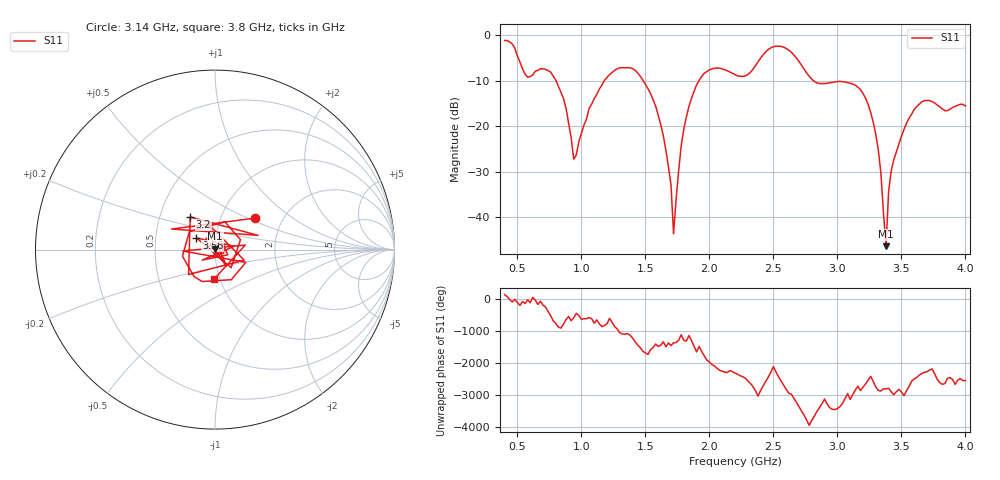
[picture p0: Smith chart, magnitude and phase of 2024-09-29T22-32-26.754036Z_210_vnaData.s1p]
!Created with skrf (http://scikit-rf.org).
# Hz S RI R 50.0
!freq ReS11 ImS11
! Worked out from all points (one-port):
!   181 points, 400 MHz to 4 GHz, reference 50 ohm
!   lowest |S11| = -46.3 dB at 3.38 GHz (marker M1), VSWR 1.01, Z = 50.2 + j0.459 ohm
!   |S11| at or under -10 dB: 801.3 MHz to 1.179 GHz (378 MHz wide, 38.2 % of centre); 1.482 GHz to 1.919 GHz (436.2 MHz wide, 25.6 % of centre); 2.813 GHz to end of sweep
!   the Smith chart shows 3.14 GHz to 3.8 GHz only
!   S11 on the Smith chart (normalised r, x): 3.14 GHz: 1.44, +0.55; 3.2 GHz: 0.71, +0.27; 3.56 GHz: 0.81, +0.11; 3.8 GHz: 0.94, -0.32
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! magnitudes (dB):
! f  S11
! 400 MHz  -1.2
! 580 MHz  -9.3
! 740 MHz  -7.8
! 860 MHz  -14.0
! 940 MHz  -27.2
! 1.06 GHz  -16.1
! 1.3 GHz  -7.2
! 1.44 GHz  -8.3
! 1.58 GHz  -15.6
! 1.7 GHz  -32.9
! 1.72 GHz  -43.6
! 1.76 GHz  -29.7
! 1.82 GHz  -18.0
! 1.92 GHz  -9.9
! 2.2 GHz  -8.7
! 2.5 GHz  -2.6
! 2.66 GHz  -4.4
! 2.84 GHz  -10.5
! 3.1 GHz  -10.6
! 3.14 GHz  -11.0
! 3.2 GHz  -12.8
! 3.32 GHz  -25.3
! 3.38 GHz  -46.3
! 3.4 GHz  -34.4
! 3.42 GHz  -29.9
! 3.56 GHz  -18.3
! 3.8 GHz  -15.7
! 4 GHz  -15.6
